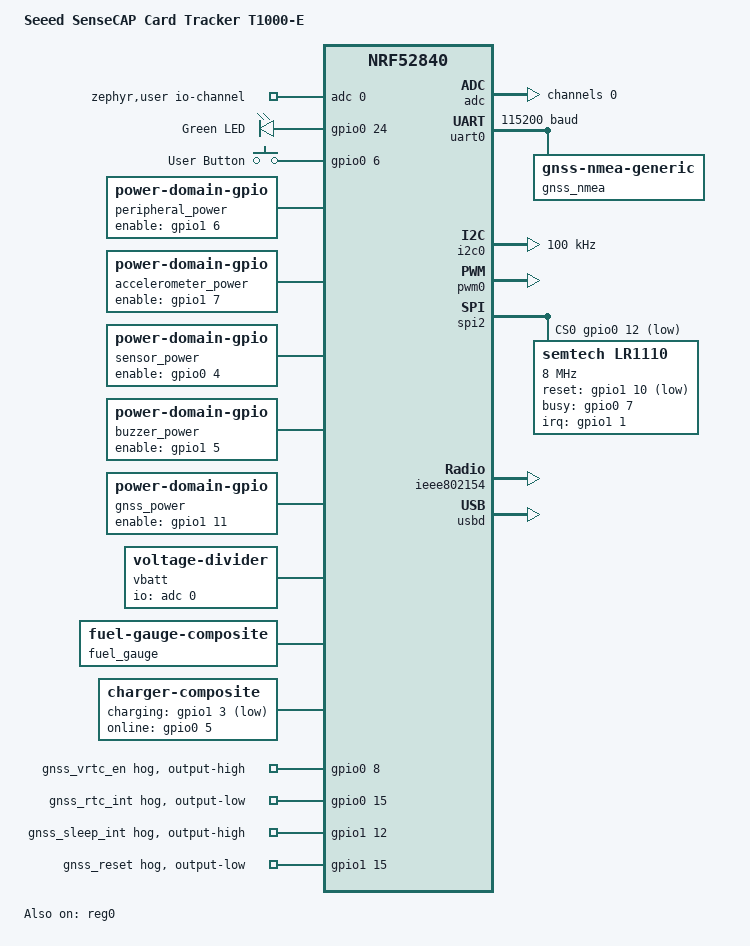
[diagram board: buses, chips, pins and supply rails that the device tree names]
/*
 * SPDX-FileCopyrightText: FoBE Studio
 * SPDX-License-Identifier: Apache-2.0
 */

/dts-v1/;
#include <nordic/nrf52840_qiaa.dtsi>
#include <zephyr/dt-bindings/adc/adc.h>
#include <zephyr/dt-bindings/adc/nrf-saadc.h>
#include <zephyr/dt-bindings/battery/battery.h>
#include <zephyr/dt-bindings/input/input-event-codes.h>
#include <zephyr/dt-bindings/lora/lr11xx.h>
#include "tracker_t1000_e-pinctrl.dtsi"

/ {
	model = "Seeed SenseCAP Card Tracker T1000-E";
	compatible = "seeed,tracker-t1000-e";

	chosen {
		zephyr,sram = &sram0;
		zephyr,flash = &flash0;
		zephyr,code-partition = &slot0_partition;
		zephyr,ieee802154 = &ieee802154;
	};

	zephyr,user {
		io-channels = <&adc 0>;
	};

	leds {
		compatible = "gpio-leds";

		led0: led_0 {
			gpios = <&gpio0 24 GPIO_ACTIVE_HIGH>;
			label = "Green LED";
		};
	};

	buttons: buttons {
		compatible = "gpio-keys";
		zephyr,suspend-action = "none";

		button0: user_button {
			gpios = <&gpio0 6 (GPIO_PULL_DOWN | GPIO_ACTIVE_HIGH)>;
			label = "User Button";
			zephyr,code = <INPUT_BTN_BACK>;
		};
	};

	peripheral_power: peripheral_power {
		compatible = "power-domain-gpio";
		#power-domain-cells = <0>;
		enable-gpios = <&gpio1 6 GPIO_ACTIVE_HIGH>;
		startup-delay-us = <10000>;
	};

	accelerometer_power: accelerometer_power {
		compatible = "power-domain-gpio";
		#power-domain-cells = <0>;
		enable-gpios = <&gpio1 7 GPIO_ACTIVE_HIGH>;
		startup-delay-us = <10000>;
	};

	sensor_power: sensor_power {
		compatible = "power-domain-gpio";
		#power-domain-cells = <0>;
		enable-gpios = <&gpio0 4 GPIO_ACTIVE_HIGH>;
		startup-delay-us = <10000>;
	};

	buzzer_power: buzzer_power {
		compatible = "power-domain-gpio";
		#power-domain-cells = <0>;
		enable-gpios = <&gpio1 5 GPIO_ACTIVE_HIGH>;
		startup-delay-us = <1000>;
	};

	gnss_power: gnss_power {
		compatible = "power-domain-gpio";
		#power-domain-cells = <0>;
		enable-gpios = <&gpio1 11 GPIO_ACTIVE_HIGH>;
		startup-delay-us = <10000>;
	};

	vbatt: vbatt {
		status = "okay";
		compatible = "voltage-divider";
		io-channels = <&adc 0>;
		power-domains = <&peripheral_power>;
		output-ohms = <1000000>;
		full-ohms = <2000000>;
	};

	fuel_gauge: fuel_gauge {
		compatible = "zephyr,fuel-gauge-composite";
		source-primary = <&vbatt>;
		device-chemistry = "lithium-ion-polymer";
		ocv-capacity-table-0 = <BATTERY_OCV_CURVE_LITHIUM_ION_POLYMER_DEFAULT>;
		charge-full-design-microamp-hours = <700000>;
	};

	charger: charger {
		compatible = "zephyr,charger-composite";
		source-primary = <&fuel_gauge>;
		charging-gpios = <&gpio1 3 GPIO_ACTIVE_LOW>;
		online-gpios = <&gpio0 5 GPIO_ACTIVE_HIGH>;
		constant-charge-voltage-max-microvolt = <4200000>;
	};

	aliases {
		mcuboot-led0 = &led0;
		mcuboot-button0 = &button0;
		led0 = &led0;
		button0 = &button0;
		watchdog0 = &wdt0;
		lora0 = &lr1110;
	};
};

&reg0 {
	status = "okay";
};

&reg1 {
	regulator-initial-mode = <NRF5X_REG_MODE_DCDC>;
};

&adc {
	status = "okay";
	#address-cells = <1>;
	#size-cells = <0>;

	channel@0 {
		reg = <0>;
		zephyr,gain = "ADC_GAIN_1_6";
		zephyr,reference = "ADC_REF_INTERNAL";
		zephyr,acquisition-time = <ADC_ACQ_TIME(ADC_ACQ_TIME_MICROSECONDS, 40)>;
		zephyr,input-positive = <NRF_SAADC_AIN0>;
		zephyr,resolution = <12>;
		zephyr,oversampling = <4>;
	};

};

&uart0 {
	compatible = "nordic,nrf-uarte";
	status = "okay";
	current-speed = <115200>;
	pinctrl-0 = <&uart0_default>;
	pinctrl-1 = <&uart0_sleep>;
	pinctrl-names = "default", "sleep";

	gnss_nmea: gnss-nmea-generic {
		status = "okay";
		compatible = "gnss-nmea-generic";
		power-domains = <&gnss_power>;
	};
};

&uart1 {
	compatible = "nordic,nrf-uarte";
	status = "disabled";
	current-speed = <115200>;
	pinctrl-0 = <&uart1_default>;
	pinctrl-1 = <&uart1_sleep>;
	pinctrl-names = "default", "sleep";
};

&i2c0 {
	compatible = "nordic,nrf-twim";
	status = "okay";
	pinctrl-0 = <&i2c0_default>;
	pinctrl-1 = <&i2c0_sleep>;
	pinctrl-names = "default", "sleep";
	clock-frequency = <I2C_BITRATE_STANDARD>;
};

&pwm0 {
	status = "okay";
	pinctrl-0 = <&pwm0_default>;
	pinctrl-1 = <&pwm0_sleep>;
	pinctrl-names = "default", "sleep";
};

&spi2 {
	status = "okay";
	pinctrl-0 = <&spi2_default>;
	pinctrl-1 = <&spi2_sleep>;
	pinctrl-names = "default", "sleep";
	cs-gpios = <&gpio0 12 GPIO_ACTIVE_LOW>;

	lr1110: lr1110@0 {
		compatible = "semtech,lr1110";
		status = "okay";
		reg = <0>;
		reset-gpios = <&gpio1 10 GPIO_ACTIVE_LOW>;
		busy-gpios = <&gpio0 7 GPIO_ACTIVE_HIGH>;
		irq-gpios = <&gpio1 1 (GPIO_PULL_DOWN | GPIO_ACTIVE_HIGH)>;
		spi-max-frequency = <DT_FREQ_M(8)>;
		rfsw-enable = <(LR11XX_RFSW0_HIGH | LR11XX_RFSW1_HIGH |
				 LR11XX_RFSW2_HIGH | LR11XX_RFSW3_HIGH)>;
		rfsw-standby = <0>;
		rfsw-rx = <(LR11XX_RFSW0_HIGH | LR11XX_RFSW3_HIGH)>;
		rfsw-tx = <(LR11XX_RFSW0_HIGH | LR11XX_RFSW1_HIGH |
			     LR11XX_RFSW3_HIGH)>;
		rfsw-tx-hp = <(LR11XX_RFSW1_HIGH | LR11XX_RFSW3_HIGH)>;
		rfsw-tx-hf = <0>;
		rfsw-gnss = <LR11XX_RFSW2_HIGH>;
		rfsw-wifi = <0>;
		rx-boosted;
		skip-rssi-calibration;
		legacy-lora-public-network;
		tcxo-voltage = <1600>;
		tcxo-power-startup-delay-ms = <5>;
		pa-select = <LR11XX_PA_SEL_HP>;
		pa-reg-supply = <LR11XX_PA_REG_SUPPLY_VBAT>;
		pa-duty-cycle = <4>;
		pa-hp-sel = <7>;
	};
};

&uicr {
	nfct-pins-as-gpios;
};

&ieee802154 {
	status = "okay";
};

&gpiote {
	status = "okay";
};

&gpio0 {
	status = "okay";

	gnss_vrtc_en {
		gpio-hog;
		output-high;
		gpios = <8 GPIO_ACTIVE_HIGH>;
	};

	gnss_rtc_int {
		gpio-hog;
		output-low;
		gpios = <15 GPIO_ACTIVE_HIGH>;
	};
};

&gpio1 {
	status = "okay";

	gnss_sleep_int {
		gpio-hog;
		output-high;
		gpios = <12 GPIO_ACTIVE_HIGH>;
	};

	gnss_reset {
		gpio-hog;
		output-low;
		gpios = <15 GPIO_ACTIVE_HIGH>;
	};
};

&flash0 {
	/*
	 * Flash layout for the Adafruit nRF52 UF2 bootloader with
	 * SoftDevice s140 v7.
	 *
	 * 0x00000000 SoftDevice s140 v7    (156 kB)
	 * 0x00027000 Application partition (788 kB)
	 * 0x000ec000 Storage partition     (16 kB)
	 * 0x000f0000 LittleFS partition    (16 kB)
	 * 0x000f4000 UF2 boot partition    (48 kB)
	 */
	partitions {
		compatible = "fixed-partitions";
		#address-cells = <1>;
		#size-cells = <1>;

		reserved_partition_0: partition@0 {
			label = "SoftDevice";
			read-only;
			reg = <0x00000000 0x00027000>;
		};

		slot0_partition: partition@27000 {
			label = "Application";
			reg = <0x00027000 0x000c5000>;
		};

		storage_partition: partition@ec000 {
			label = "storage";
			reg = <0x000ec000 0x00004000>;
		};

		lfs_partition: partition@f0000 {
			label = "lfs_storage";
			reg = <0x000f0000 0x00004000>;
		};

		boot_partition: partition@f4000 {
			label = "UF2";
			read-only;
			reg = <0x000f4000 0x0000c000>;
		};
	};
};

zephyr_udc0: &usbd {
	compatible = "nordic,nrf-usbd";
	status = "okay";
};

#include <../boards/common/usb/cdc_acm_serial.dtsi>
